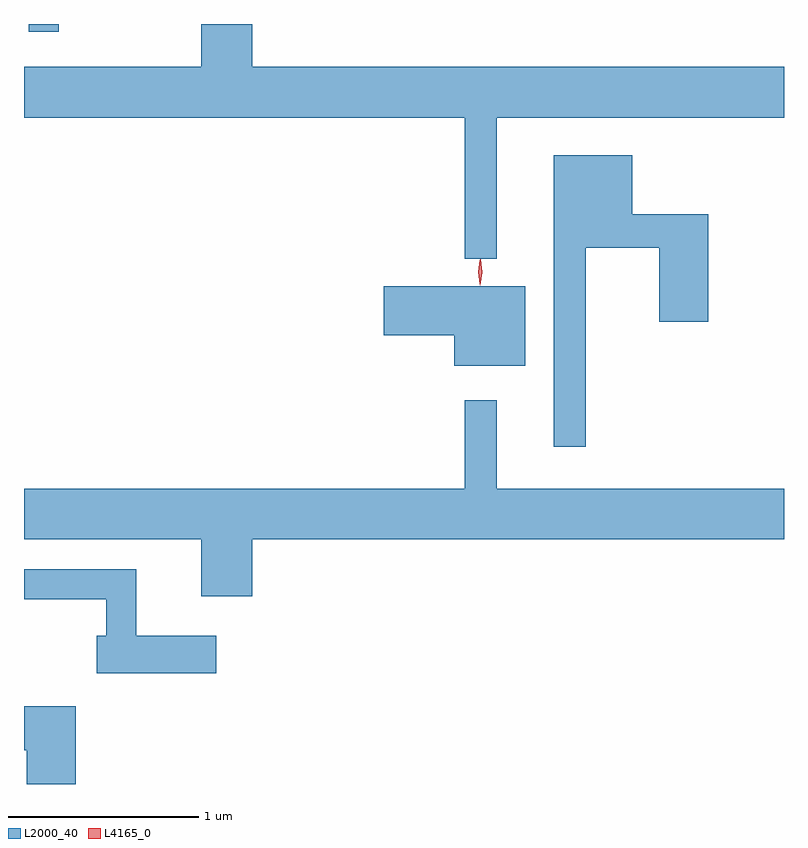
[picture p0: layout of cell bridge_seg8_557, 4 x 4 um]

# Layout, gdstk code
import gdstk
lib = gdstk.Library(unit=1e-6, precision=1e-09)
def R(c, l, rs):  # rectangles x0, y0, x1, y1
    for r in rs: c.add(gdstk.rectangle(r[:2], r[2:], *l))
def P(c, l, *ps):  # polygons
    for p in ps: c.add(gdstk.Polygon(p, *l))
L2000_40 = (2000, 40)
L4165_0 = (4165, 0)

bridge_seg8_557 = lib.new_cell('bridge_seg8_557')
R(bridge_seg8_557, L2000_40, [(553.826,1812.448,553.984,1812.489)])
P(bridge_seg8_557, L2000_40, [(556.289,1811.996),(557.802,1811.996),(557.802,1812.264),(555.004,1812.264),(555.004,1812.489),(554.736,1812.489),(554.736,1812.264),(553.802,1812.264),(553.802,1811.996),(556.121,1811.996),(556.121,1811.253),(556.289,1811.253)],
  [(556.759,1811.311),(557.146,1811.311),(557.146,1810.921),(557.404,1810.921),(557.404,1811.489),(557.004,1811.489),(557.004,1811.799),(556.591,1811.799),(556.591,1810.263),(556.759,1810.263)],
  [(556.439,1811.109),(555.696,1811.109),(555.696,1810.851),(556.066,1810.851),(556.066,1810.691),(556.439,1810.691)],
  [(555.004,1809.776),(557.802,1809.776),(557.802,1810.044),(556.289,1810.044),(556.289,1810.508),(556.121,1810.508),(556.121,1810.044),(553.802,1810.044),(553.802,1809.776),(554.736,1809.776),(554.736,1809.476),(555.004,1809.476)],
  [(554.814,1809.269),(554.394,1809.269),(554.394,1809.619),(553.802,1809.619),(553.802,1809.461),(554.236,1809.461),(554.236,1809.269),(554.186,1809.269),(554.186,1809.071),(554.814,1809.071)],
  [(554.074,1808.899),(553.802,1808.899),(553.802,1808.666),(553.816,1808.666),(553.816,1808.489),(554.074,1808.489)])
P(bridge_seg8_557, L4165_0, [(556.201,1811.12),(556.192,1811.184),(556.201,1811.246),(556.202,1811.247),(556.202,1811.246),(556.212,1811.184),(556.202,1811.12),(556.202,1811.12)],
  [(556.203,1811.114),(556.203,1811.114),(556.194,1811.182),(556.204,1811.25),(556.205,1811.25),(556.206,1811.25),(556.214,1811.182),(556.204,1811.114)])

lib.write_gds('bridge_seg8_557.gds')
